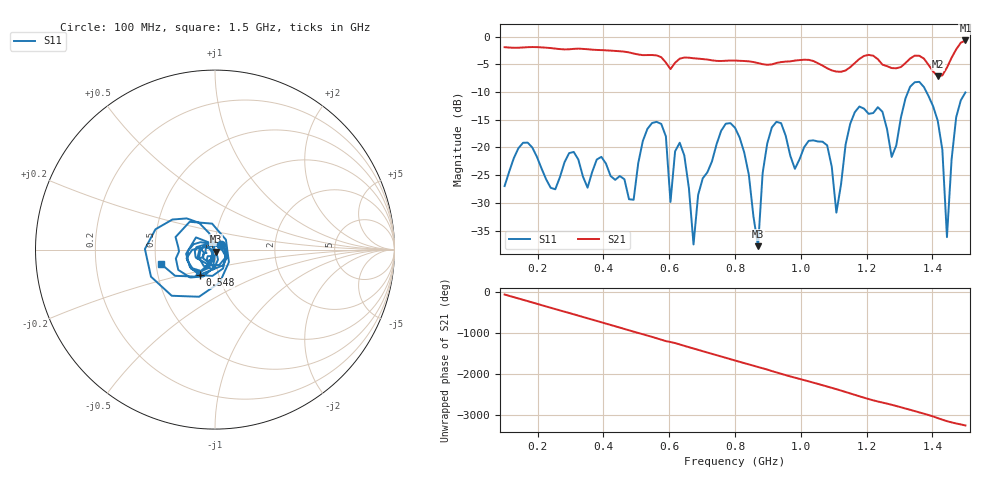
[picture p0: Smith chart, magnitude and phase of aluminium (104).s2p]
! NanoVNA-App
! Date: 2025-09-26 09:58:52
! Start: 100MHz Stop: 1,5GHz Points: 101
! S-Parameter data: F S11 S21 S12 S22
# Hz S RI R 50
!  Frequency  S11_Real  S11_Imag  S21_Real  S21_Imag  S12_Real  S12_Imag  S22_Real  S22_Imag
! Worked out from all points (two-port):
!   101 points, 100 MHz to 1.5 GHz, reference 50 ohm
!   highest |S21| = -0.70 dB at 1.5 GHz (marker M1); lowest = -7.2 dB at 1.416 GHz (marker M2)
!   |S21| within 3 dB of the highest: start of sweep to 575 MHz; 1.187 GHz to 1.226 GHz (38.89 MHz wide, 3.22 % of centre)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
!   lowest |S11| = -37.8 dB at 870 MHz (marker M3), VSWR 1.03, Z = 50.7 - j1.09 ohm
!   |S11| at or under -10 dB: start of sweep to 1.326 GHz; 1.382 GHz to end of sweep
!   S12 and S22 are empty: the file has one direction only
!   S11 on the Smith chart (normalised r, x): 100 MHz: 1.07, +0.06; 548 MHz: 0.81, -0.24; 1.5 GHz: 0.53, -0.09
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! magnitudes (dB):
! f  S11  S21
! 100 MHz  -27.0  -1.9
! 156 MHz  -19.2  -2.0
! 338 MHz  -25.3  -2.2
! 492 MHz  -29.4  -3.1
! 548 MHz  -15.6  -3.3
! 576 MHz  -15.8  -3.7
! 604 MHz  -29.8  -5.9
! 646 MHz  -21.5  -3.8
! 674 MHz  -37.5  -3.9
! 702 MHz  -25.6  -4.1
! 800 MHz  -16.5  -4.3
! 870 MHz  -37.8  -4.8
! 912 MHz  -16.4  -5.0
! 1.038 GHz  -18.7  -4.4
! 1.108 GHz  -31.8  -6.3
! 1.178 GHz  -12.6  -4.0
! 1.276 GHz  -21.7  -5.7
! 1.346 GHz  -8.2  -3.4
! 1.416 GHz  -15.2  -7.2
! 1.444 GHz  -36.2  -5.6
! 1.472 GHz  -14.6  -2.3
! 1.5 GHz  -10.1  -0.7
